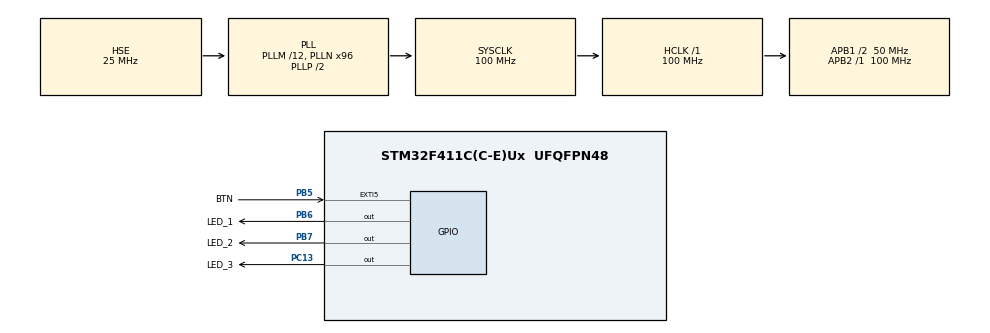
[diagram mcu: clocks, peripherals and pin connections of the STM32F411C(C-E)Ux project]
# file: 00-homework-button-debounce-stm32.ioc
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Mcu.Family=STM32F4
Mcu.Name=STM32F411C(C-E)Ux
Mcu.Package=UFQFPN48
NVIC.EXTI9_5_IRQn=true\:1\:0\:true\:false\:true\:true\:true\:true
NVIC.PriorityGroup=NVIC_PRIORITYGROUP_4
PA13.Mode=Serial_Wire
PA13.Signal=SYS_JTMS-SWDIO
PA14.Mode=Serial_Wire
PA14.Signal=SYS_JTCK-SWCLK
PB5.GPIO_Label=BTN
PB5.GPIO_ModeDefaultEXTI=GPIO_MODE_IT_RISING_FALLING
PB5.GPIO_PuPd=GPIO_PULLUP
PB5.Signal=GPXTI5
PB6.GPIO_Label=LED_1
PB6.Signal=GPIO_Output
PB7.GPIO_Label=LED_2
PB7.Signal=GPIO_Output
PC13-ANTI_TAMP.GPIO_Label=LED_3
PC13-ANTI_TAMP.PinState=GPIO_PIN_SET
PC13-ANTI_TAMP.Signal=GPIO_Output
PH0\ -\ OSC_IN.Mode=HSE-External-Oscillator
PH0\ -\ OSC_IN.Signal=RCC_OSC_IN
PH1\ -\ OSC_OUT.Mode=HSE-External-Oscillator
PH1\ -\ OSC_OUT.Signal=RCC_OSC_OUT
ProjectManager.HeapSize=0x200
ProjectManager.StackSize=0x400
ProjectManager.TargetToolchain=STM32CubeIDE
RCC.48MHZClocksFreq_Value=50000000
RCC.AHBFreq_Value=100000000
RCC.APB1CLKDivider=RCC_HCLK_DIV2
RCC.APB1Freq_Value=50000000
RCC.APB1TimFreq_Value=100000000
RCC.APB2Freq_Value=100000000
RCC.APB2TimFreq_Value=100000000
RCC.CortexFreq_Value=100000000
RCC.HCLKFreq_Value=100000000
RCC.HSE_VALUE=25000000
RCC.HSI_VALUE=16000000
RCC.LSE_VALUE=32768
RCC.PLLM=12
RCC.PLLN=96
RCC.PLLSourceVirtual=RCC_PLLSOURCE_HSE
RCC.SYSCLKFreq_VALUE=100000000
RCC.SYSCLKSource=RCC_SYSCLKSOURCE_PLLCLK
RCC.VCOOutputFreq_Value=200000000
board=custom

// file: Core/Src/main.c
/* USER CODE BEGIN Header */
/**
  ******************************************************************************
  * @file           : main.c
  * @brief          : Main program body
  ******************************************************************************
  * @attention
  *
  * Copyright (c) 2026 STMicroelectronics.
  * All rights reserved.
  *
  * This software is licensed under terms that can be found in the LICENSE file
  * in the root directory of this software component.
  * If no LICENSE file comes with this software, it is provided AS-IS.
  *
  ******************************************************************************
  */
/* USER CODE END Header */
#include "main.h"

/* USER CODE BEGIN PV */
static volatile uint8_t btn_pressed_flag;
static volatile uint32_t btn_pressed_timestamp;
/* USER CODE END PV */

void SystemClock_Config(void);
static void MX_GPIO_Init(void);

/* USER CODE BEGIN 0 */

void HAL_GPIO_EXTI_Callback(uint16_t GPIO_Pin)
{
    if (GPIO_Pin == BTN_Pin)
    {
        btn_pressed_flag = 1u;
        btn_pressed_timestamp = HAL_GetTick();
    }
}
/* USER CODE END 0 */

int main(void)
{

  /* MCU Configuration--------------------------------------------------------*/

  /* Reset of all peripherals, Initializes the Flash interface and the Systick. */
  HAL_Init();

  /* Configure the system clock */
  SystemClock_Config();

  /* Initialize all configured peripherals */
  MX_GPIO_Init();
  /* USER CODE BEGIN 2 */
  uint32_t heartbeat_timestamp = HAL_GetTick();
  uint32_t press_start = HAL_GetTick();     // ms when the last press was confirmed; only the loop uses it

  /* USER CODE END 2 */

  /* Infinite loop */
  /* USER CODE BEGIN WHILE */
  while (1)
  {
	  uint32_t now = HAL_GetTick();
	  if (btn_pressed_flag == 1u && now - btn_pressed_timestamp >= 30u)
	  {
		  if (HAL_GPIO_ReadPin(BTN_GPIO_Port, BTN_Pin) == GPIO_PIN_SET) // released: PB5 high again (pull-up)
		  {
			  if (now - press_start < 1000u)        // held less than 1 s: a short press
				  HAL_GPIO_TogglePin(LED_1_GPIO_Port, LED_1_Pin);
			  else
			  {
				  HAL_GPIO_TogglePin(LED_3_GPIO_Port, LED_3_Pin);
			  }
		  }
		  else                                      // pressed: PB5 low (button to GND)
		  {
			  press_start = now;                    // both ends are confirmed 30 ms late, so the delays cancel
		  }

		  btn_pressed_flag = 0u;
	  }
	  if (now - heartbeat_timestamp >= 500u)
	  {
		  HAL_GPIO_TogglePin(LED_2_GPIO_Port, LED_2_Pin);
		  heartbeat_timestamp = now;
	  }
    /* USER CODE END WHILE */

  }
}

void SystemClock_Config(void)
{
  RCC_OscInitTypeDef RCC_OscInitStruct = {0};
  RCC_ClkInitTypeDef RCC_ClkInitStruct = {0};

  /** Configure the main internal regulator output voltage
  */
  __HAL_RCC_PWR_CLK_ENABLE();
  __HAL_PWR_VOLTAGESCALING_CONFIG(PWR_REGULATOR_VOLTAGE_SCALE1);

  /** Initializes the RCC Oscillators according to the specified parameters
  * in the RCC_OscInitTypeDef structure.
  */
  RCC_OscInitStruct.OscillatorType = RCC_OSCILLATORTYPE_HSE;
  RCC_OscInitStruct.HSEState = RCC_HSE_ON;
  RCC_OscInitStruct.PLL.PLLState = RCC_PLL_ON;
  RCC_OscInitStruct.PLL.PLLSource = RCC_PLLSOURCE_HSE;
  RCC_OscInitStruct.PLL.PLLM = 12;
  RCC_OscInitStruct.PLL.PLLN = 96;
  RCC_OscInitStruct.PLL.PLLP = RCC_PLLP_DIV2;
  RCC_OscInitStruct.PLL.PLLQ = 4;
  if (HAL_RCC_OscConfig(&RCC_OscInitStruct) != HAL_OK)
  {
    Error_Handler();
  }

  /** Initializes the CPU, AHB and APB buses clocks
  */
  RCC_ClkInitStruct.ClockType = RCC_CLOCKTYPE_HCLK|RCC_CLOCKTYPE_SYSCLK
                              |RCC_CLOCKTYPE_PCLK1|RCC_CLOCKTYPE_PCLK2;
  RCC_ClkInitStruct.SYSCLKSource = RCC_SYSCLKSOURCE_PLLCLK;
  RCC_ClkInitStruct.AHBCLKDivider = RCC_SYSCLK_DIV1;
  RCC_ClkInitStruct.APB1CLKDivider = RCC_HCLK_DIV2;
  RCC_ClkInitStruct.APB2CLKDivider = RCC_HCLK_DIV1;

  if (HAL_RCC_ClockConfig(&RCC_ClkInitStruct, FLASH_LATENCY_3) != HAL_OK)
  {
    Error_Handler();
  }
}

static void MX_GPIO_Init(void)
{
  GPIO_InitTypeDef GPIO_InitStruct = {0};

  /* GPIO Ports Clock Enable */
  __HAL_RCC_GPIOC_CLK_ENABLE();
  __HAL_RCC_GPIOH_CLK_ENABLE();
  __HAL_RCC_GPIOA_CLK_ENABLE();
  __HAL_RCC_GPIOB_CLK_ENABLE();

  /*Configure GPIO pin Output Level */
  HAL_GPIO_WritePin(LED_3_GPIO_Port, LED_3_Pin, GPIO_PIN_SET);

  /*Configure GPIO pin Output Level */
  HAL_GPIO_WritePin(GPIOB, LED_1_Pin|LED_2_Pin, GPIO_PIN_RESET);

  /*Configure GPIO pin : LED_3_Pin */
  GPIO_InitStruct.Pin = LED_3_Pin;
  GPIO_InitStruct.Mode = GPIO_MODE_OUTPUT_PP;
  GPIO_InitStruct.Pull = GPIO_NOPULL;
  GPIO_InitStruct.Speed = GPIO_SPEED_FREQ_LOW;
  HAL_GPIO_Init(LED_3_GPIO_Port, &GPIO_InitStruct);

  /*Configure GPIO pin : BTN_Pin */
  GPIO_InitStruct.Pin = BTN_Pin;
  GPIO_InitStruct.Mode = GPIO_MODE_IT_RISING_FALLING;
  GPIO_InitStruct.Pull = GPIO_PULLUP;
  HAL_GPIO_Init(BTN_GPIO_Port, &GPIO_InitStruct);

  /*Configure GPIO pins : LED_1_Pin LED_2_Pin */
  GPIO_InitStruct.Pin = LED_1_Pin|LED_2_Pin;
  GPIO_InitStruct.Mode = GPIO_MODE_OUTPUT_PP;
  GPIO_InitStruct.Pull = GPIO_NOPULL;
  GPIO_InitStruct.Speed = GPIO_SPEED_FREQ_LOW;
  HAL_GPIO_Init(GPIOB, &GPIO_InitStruct);

  /* EXTI interrupt init*/
  HAL_NVIC_SetPriority(EXTI9_5_IRQn, 1, 0);
  HAL_NVIC_EnableIRQ(EXTI9_5_IRQn);

}

void Error_Handler(void)
{
  __disable_irq();
  while (1)
  {
  }
}
